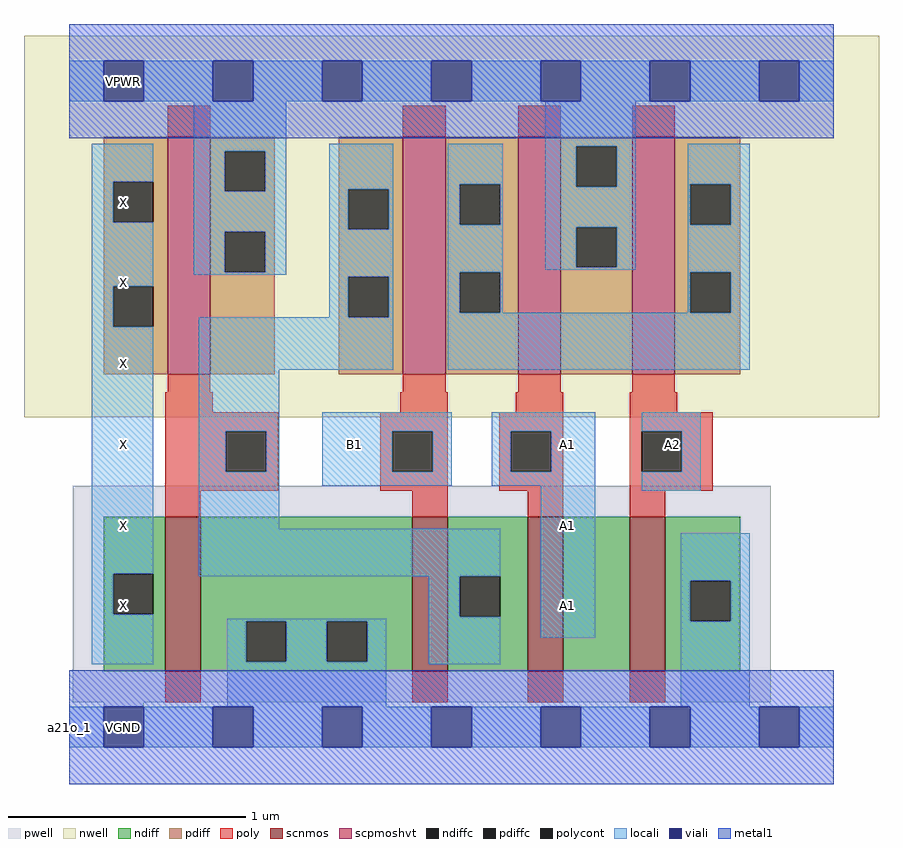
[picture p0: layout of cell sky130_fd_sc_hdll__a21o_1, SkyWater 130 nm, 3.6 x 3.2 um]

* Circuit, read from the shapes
.subckt sky130_fd_sc_hdll__a21o_1 A1 A2 B1 VGND VNB VPB VPWR X
XM1 VGND n1 X VNB sky130_fd_pr__nfet_01v8 w=0.65 l=0.15
XM2 n1 B1 VGND VNB sky130_fd_pr__nfet_01v8 w=0.65 l=0.15
XM3 n2 A1 n1 VNB sky130_fd_pr__nfet_01v8 w=0.65 l=0.15
XM4 VGND A2 n2 VNB sky130_fd_pr__nfet_01v8 w=0.65 l=0.15
XM5 VPWR n1 X VPB sky130_fd_pr__pfet_01v8_hvt w=1 l=0.18
XM6 n3 B1 n1 VPB sky130_fd_pr__pfet_01v8_hvt w=1 l=0.18
XM7 VPWR A1 n3 VPB sky130_fd_pr__pfet_01v8_hvt w=1 l=0.18
XM8 n3 A2 VPWR VPB sky130_fd_pr__pfet_01v8_hvt w=1 l=0.18
.ends

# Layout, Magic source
magic
tech sky130A
magscale 1 2
<< nwell >>
rect -38 261 682 582
<< pwell >>
rect 3 21 591 203
rect 29 -17 63 21
<< scnmos >>
rect 81 47 111 177
rect 289 47 319 177
rect 386 47 416 177
rect 472 47 502 177
<< scpmoshvt >>
rect 83 297 119 497
rect 281 297 317 497
rect 378 297 414 497
rect 474 297 510 497
<< ndiff >>
rect 29 129 81 177
rect 29 95 37 129
rect 71 95 81 129
rect 29 47 81 95
rect 111 89 289 177
rect 111 55 149 89
rect 183 55 217 89
rect 251 55 289 89
rect 111 47 289 55
rect 319 127 386 177
rect 319 93 329 127
rect 363 93 386 127
rect 319 47 386 93
rect 416 47 472 177
rect 502 123 565 177
rect 502 89 523 123
rect 557 89 565 123
rect 502 47 565 89
<< pdiff >>
rect 29 459 83 497
rect 29 425 37 459
rect 71 425 83 459
rect 29 371 83 425
rect 29 337 37 371
rect 71 337 83 371
rect 29 297 83 337
rect 119 485 173 497
rect 119 451 131 485
rect 165 451 173 485
rect 119 417 173 451
rect 119 383 131 417
rect 165 383 173 417
rect 119 297 173 383
rect 227 453 281 497
rect 227 419 235 453
rect 269 419 281 453
rect 227 379 281 419
rect 227 345 235 379
rect 269 345 281 379
rect 227 297 281 345
rect 317 457 378 497
rect 317 423 329 457
rect 363 423 378 457
rect 317 383 378 423
rect 317 349 329 383
rect 363 349 378 383
rect 317 297 378 349
rect 414 489 474 497
rect 414 455 427 489
rect 461 455 474 489
rect 414 421 474 455
rect 414 387 427 421
rect 461 387 474 421
rect 414 297 474 387
rect 510 457 565 497
rect 510 423 523 457
rect 557 423 565 457
rect 510 383 565 423
rect 510 349 523 383
rect 557 349 565 383
rect 510 297 565 349
<< ndiffc >>
rect 37 95 71 129
rect 149 55 183 89
rect 217 55 251 89
rect 329 93 363 127
rect 523 89 557 123
<< pdiffc >>
rect 37 425 71 459
rect 37 337 71 371
rect 131 451 165 485
rect 131 383 165 417
rect 235 419 269 453
rect 235 345 269 379
rect 329 423 363 457
rect 329 349 363 383
rect 427 455 461 489
rect 427 387 461 421
rect 523 423 557 457
rect 523 349 557 383
<< poly >>
rect 83 497 119 523
rect 281 497 317 523
rect 378 497 414 523
rect 474 497 510 523
rect 83 282 119 297
rect 281 282 317 297
rect 378 282 414 297
rect 474 282 510 297
rect 81 265 121 282
rect 279 265 319 282
rect 376 265 416 282
rect 81 249 176 265
rect 81 215 132 249
rect 166 215 176 249
rect 81 199 176 215
rect 262 249 319 265
rect 262 215 272 249
rect 306 215 319 249
rect 262 199 319 215
rect 362 249 416 265
rect 362 215 372 249
rect 406 215 416 249
rect 362 199 416 215
rect 81 177 111 199
rect 289 177 319 199
rect 386 177 416 199
rect 472 265 512 282
rect 472 249 542 265
rect 472 215 482 249
rect 516 215 542 249
rect 472 199 542 215
rect 472 177 502 199
rect 81 21 111 47
rect 289 21 319 47
rect 386 21 416 47
rect 472 21 502 47
<< polycont >>
rect 132 215 166 249
rect 272 215 306 249
rect 372 215 406 249
rect 482 215 516 249
<< locali >>
rect 0 527 29 561
rect 63 527 121 561
rect 155 527 213 561
rect 247 527 305 561
rect 339 527 397 561
rect 431 527 489 561
rect 523 527 581 561
rect 615 527 644 561
rect 19 459 71 491
rect 19 425 37 459
rect 19 371 71 425
rect 105 485 183 527
rect 105 451 131 485
rect 165 451 183 485
rect 105 417 183 451
rect 105 383 131 417
rect 165 383 183 417
rect 105 381 183 383
rect 219 453 273 491
rect 219 419 235 453
rect 269 419 273 453
rect 19 337 37 371
rect 219 379 273 419
rect 219 345 235 379
rect 269 345 273 379
rect 19 129 71 337
rect 19 95 37 129
rect 109 301 273 345
rect 319 457 365 491
rect 319 423 329 457
rect 363 423 365 457
rect 319 383 365 423
rect 401 489 477 527
rect 401 455 427 489
rect 461 455 477 489
rect 401 421 477 455
rect 401 387 427 421
rect 461 387 477 421
rect 401 385 477 387
rect 521 457 573 491
rect 521 423 523 457
rect 557 423 573 457
rect 319 349 329 383
rect 363 349 365 383
rect 521 383 573 423
rect 521 349 523 383
rect 557 349 573 383
rect 319 301 573 349
rect 109 249 177 301
rect 109 215 132 249
rect 166 215 177 249
rect 109 167 177 215
rect 213 249 322 265
rect 213 215 272 249
rect 306 215 322 249
rect 213 203 322 215
rect 356 249 443 265
rect 356 215 372 249
rect 406 215 443 249
rect 356 203 443 215
rect 109 127 363 167
rect 19 53 71 95
rect 303 93 329 127
rect 133 89 267 91
rect 133 55 149 89
rect 183 55 217 89
rect 251 55 267 89
rect 133 17 267 55
rect 303 53 363 93
rect 397 75 443 203
rect 482 249 532 265
rect 516 215 532 249
rect 482 199 532 215
rect 515 123 573 163
rect 515 89 523 123
rect 557 89 573 123
rect 515 17 573 89
rect 0 -17 29 17
rect 63 -17 121 17
rect 155 -17 213 17
rect 247 -17 305 17
rect 339 -17 397 17
rect 431 -17 489 17
rect 523 -17 581 17
rect 615 -17 644 17
<< viali >>
rect 29 527 63 561
rect 121 527 155 561
rect 213 527 247 561
rect 305 527 339 561
rect 397 527 431 561
rect 489 527 523 561
rect 581 527 615 561
rect 29 -17 63 17
rect 121 -17 155 17
rect 213 -17 247 17
rect 305 -17 339 17
rect 397 -17 431 17
rect 489 -17 523 17
rect 581 -17 615 17
<< metal1 >>
rect 0 561 644 592
rect 0 527 29 561
rect 63 527 121 561
rect 155 527 213 561
rect 247 527 305 561
rect 339 527 397 561
rect 431 527 489 561
rect 523 527 581 561
rect 615 527 644 561
rect 0 496 644 527
rect 0 17 644 48
rect 0 -17 29 17
rect 63 -17 121 17
rect 155 -17 213 17
rect 247 -17 305 17
rect 339 -17 397 17
rect 431 -17 489 17
rect 523 -17 581 17
rect 615 -17 644 17
rect 0 -48 644 -17
<< labels >>
flabel locali s 491 221 525 255 0 FreeSans 200 0 0 0 A2
port 2 nsew signal input
flabel locali s 403 85 437 119 0 FreeSans 200 0 0 0 A1
port 1 nsew signal input
flabel locali s 403 153 437 187 0 FreeSans 200 0 0 0 A1
port 1 nsew signal input
flabel locali s 403 221 437 255 0 FreeSans 200 0 0 0 A1
port 1 nsew signal input
flabel locali s 223 221 257 255 0 FreeSans 200 0 0 0 B1
port 3 nsew signal input
flabel locali s 29 85 63 119 0 FreeSans 200 0 0 0 X
port 8 nsew signal output
flabel locali s 29 425 63 459 0 FreeSans 200 0 0 0 X
port 8 nsew signal output
flabel locali s 29 357 63 391 0 FreeSans 200 0 0 0 X
port 8 nsew signal output
flabel locali s 29 289 63 323 0 FreeSans 200 0 0 0 X
port 8 nsew signal output
flabel locali s 29 221 63 255 0 FreeSans 200 0 0 0 X
port 8 nsew signal output
flabel locali s 29 153 63 187 0 FreeSans 200 0 0 0 X
port 8 nsew signal output
flabel metal1 s 29 527 63 561 0 FreeSans 200 0 0 0 VPWR
port 7 nsew power bidirectional
flabel metal1 s 29 -17 63 17 0 FreeSans 200 0 0 0 VGND
port 4 nsew ground bidirectional
flabel nwell s 29 527 63 561 0 FreeSans 200 0 0 0 VPB
port 6 nsew power bidirectional
flabel pwell s 29 -17 63 17 0 FreeSans 200 0 0 0 VNB
port 5 nsew ground bidirectional
rlabel comment s 0 0 0 0 4 a21o_1
<< properties >>
string LEFsite unithd
string LEFclass CORE
string FIXED_BBOX 0 0 644 544
string GDS_FILE $PDKPATH/libs.ref/sky130_fd_sc_hdll/gds/sky130_fd_sc_hdll.gds
string LEFsymmetry X Y R90
string GDS_END 1348570
string GDS_START 1342324
string LEFproperties maskLayoutSubType "abstract" prCellType "standard" originalViewName "layout"
<< end >>
